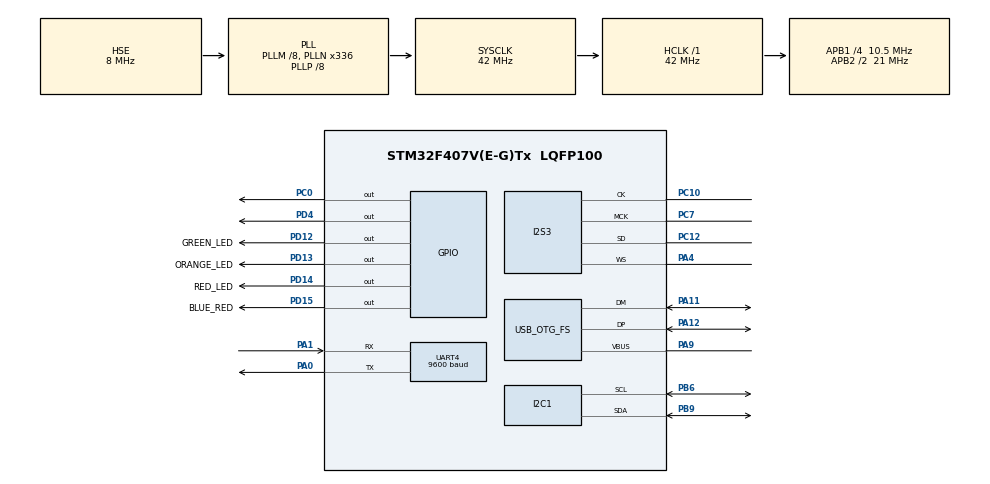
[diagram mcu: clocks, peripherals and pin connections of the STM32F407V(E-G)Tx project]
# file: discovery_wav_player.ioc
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Dma.Request0=SPI3_TX
Dma.Request1=UART4_RX
Dma.Request2=UART4_TX
Dma.SPI3_TX.0.Direction=DMA_MEMORY_TO_PERIPH
Dma.SPI3_TX.0.FIFOMode=DMA_FIFOMODE_ENABLE
Dma.SPI3_TX.0.FIFOThreshold=DMA_FIFO_THRESHOLD_FULL
Dma.SPI3_TX.0.Instance=DMA1_Stream5
Dma.SPI3_TX.0.MemBurst=DMA_MBURST_SINGLE
Dma.SPI3_TX.0.MemDataAlignment=DMA_MDATAALIGN_HALFWORD
Dma.SPI3_TX.0.MemInc=DMA_MINC_ENABLE
Dma.SPI3_TX.0.Mode=DMA_CIRCULAR
Dma.SPI3_TX.0.PeriphBurst=DMA_PBURST_SINGLE
Dma.SPI3_TX.0.PeriphDataAlignment=DMA_PDATAALIGN_HALFWORD
Dma.SPI3_TX.0.PeriphInc=DMA_PINC_DISABLE
Dma.SPI3_TX.0.Priority=DMA_PRIORITY_VERY_HIGH
Dma.UART4_RX.1.Direction=DMA_PERIPH_TO_MEMORY
Dma.UART4_RX.1.FIFOMode=DMA_FIFOMODE_ENABLE
Dma.UART4_RX.1.FIFOThreshold=DMA_FIFO_THRESHOLD_FULL
Dma.UART4_RX.1.Instance=DMA1_Stream2
Dma.UART4_RX.1.MemBurst=DMA_MBURST_SINGLE
Dma.UART4_RX.1.MemDataAlignment=DMA_MDATAALIGN_BYTE
Dma.UART4_RX.1.MemInc=DMA_MINC_ENABLE
Dma.UART4_RX.1.Mode=DMA_NORMAL
Dma.UART4_RX.1.PeriphBurst=DMA_PBURST_SINGLE
Dma.UART4_RX.1.PeriphDataAlignment=DMA_PDATAALIGN_BYTE
Dma.UART4_RX.1.PeriphInc=DMA_PINC_DISABLE
Dma.UART4_RX.1.Priority=DMA_PRIORITY_LOW
Dma.UART4_TX.2.Direction=DMA_MEMORY_TO_PERIPH
Dma.UART4_TX.2.FIFOMode=DMA_FIFOMODE_ENABLE
Dma.UART4_TX.2.FIFOThreshold=DMA_FIFO_THRESHOLD_FULL
Dma.UART4_TX.2.Instance=DMA1_Stream4
Dma.UART4_TX.2.MemBurst=DMA_MBURST_SINGLE
Dma.UART4_TX.2.MemDataAlignment=DMA_MDATAALIGN_BYTE
Dma.UART4_TX.2.MemInc=DMA_MINC_ENABLE
Dma.UART4_TX.2.Mode=DMA_NORMAL
Dma.UART4_TX.2.PeriphBurst=DMA_PBURST_SINGLE
Dma.UART4_TX.2.PeriphDataAlignment=DMA_PDATAALIGN_BYTE
Dma.UART4_TX.2.PeriphInc=DMA_PINC_DISABLE
Dma.UART4_TX.2.Priority=DMA_PRIORITY_LOW
FATFS._USE_FIND=1
I2S3.AudioFreq=I2S_AUDIOFREQ_44K
I2S3.ErrorAudioFreq=0.24 %
I2S3.FullDuplexMode=I2S_FULLDUPLEXMODE_DISABLE
I2S3.Instance=SPI$Index
I2S3.RealAudioFreq=44.108 KHz
I2S3.VirtualMode=I2S_MODE_MASTER
Mcu.Family=STM32F4
Mcu.Name=STM32F407V(E-G)Tx
Mcu.Package=LQFP100
NVIC.DMA1_Stream2_IRQn=true\:2\:0\:true\:false\:true\:false\:true
NVIC.DMA1_Stream4_IRQn=true\:2\:0\:true\:false\:true\:false\:true
NVIC.DMA1_Stream5_IRQn=true\:2\:0\:true\:false\:true\:false\:true
NVIC.OTG_FS_IRQn=true\:1\:0\:true\:false\:true\:false\:true
NVIC.PriorityGroup=NVIC_PRIORITYGROUP_2
NVIC.UART4_IRQn=true\:2\:0\:true\:false\:true\:true\:true
PA0-WKUP.Mode=Asynchronous
PA0-WKUP.Signal=UART4_TX
PA1.Mode=Asynchronous
PA1.Signal=UART4_RX
PA11.Mode=Host_Only
PA11.Signal=USB_OTG_FS_DM
PA12.Mode=Host_Only
PA12.Signal=USB_OTG_FS_DP
PA4.Mode=Half_Duplex_Master
PA4.Signal=I2S3_WS
PA9.Mode=Activate_VBUS
PA9.Signal=USB_OTG_FS_VBUS
PB6.Mode=I2C
PB6.Signal=I2C1_SCL
PB9.Mode=I2C
PB9.Signal=I2C1_SDA
PC0.Signal=GPIO_Output
PC10.Mode=Half_Duplex_Master
PC10.Signal=I2S3_CK
PC12.Mode=Half_Duplex_Master
PC12.Signal=I2S3_SD
PC7.Mode=Master_Clock_Activated
PC7.Signal=I2S3_MCK
PD12.GPIO_Label=GREEN_LED
PD12.Signal=GPIO_Output
PD13.GPIO_Label=ORANGE_LED
PD13.Signal=GPIO_Output
PD14.GPIO_Label=RED_LED
PD14.Signal=GPIO_Output
PD15.GPIO_Label=BLUE_RED
PD15.Signal=GPIO_Output
PD4.Signal=GPIO_Output
PH0-OSC_IN.Mode=HSE-External-Oscillator
PH0-OSC_IN.Signal=RCC_OSC_IN
PH1-OSC_OUT.Mode=HSE-External-Oscillator
PH1-OSC_OUT.Signal=RCC_OSC_OUT
ProjectManager.HeapSize=0x2000
ProjectManager.StackSize=0x2000
ProjectManager.TargetToolchain=STM32CubeIDE
RCC.48MHZClocksFreq_Value=48000000
RCC.AHBFreq_Value=42000000
RCC.APB1CLKDivider=RCC_HCLK_DIV4
RCC.APB1Freq_Value=10500000
RCC.APB1TimFreq_Value=21000000
RCC.APB2CLKDivider=RCC_HCLK_DIV2
RCC.APB2Freq_Value=21000000
RCC.APB2TimFreq_Value=42000000
RCC.CortexFreq_Value=42000000
RCC.HCLKFreq_Value=42000000
RCC.HSE_VALUE=8000000
RCC.HSI_VALUE=16000000
RCC.LSE_VALUE=32768
RCC.PLLI2SN=271
RCC.PLLI2SR=6
RCC.PLLM=8
RCC.PLLN=336
RCC.PLLP=RCC_PLLP_DIV8
RCC.PLLQ=7
RCC.SYSCLKFreq_VALUE=42000000
RCC.SYSCLKSource=RCC_SYSCLKSOURCE_PLLCLK
RCC.VCOOutputFreq_Value=336000000
UART4.BaudRate=9600
UART4.VirtualMode=Asynchronous
USB_HOST.USBH_HandleTypeDef-MSC_FS=hUsbHostFS
USB_HOST.VirtualModeFS=Msc
USB_OTG_FS.VirtualMode=Host_Only
USB_OTG_FS.phy_itface=HCD_PHY_EMBEDDED
VP_FATFS_VS_USB.Mode=USB
VP_USB_HOST_VS_USB_HOST_MSC_FS.Mode=MSC_FS
board=STM32F407G-DISC1

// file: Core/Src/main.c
/* USER CODE BEGIN Header */
/**
  ******************************************************************************
  * @file           : main.c
  * @brief          : Main program body
  ******************************************************************************
  * @attention
  *
  * <h2><center>&copy; Copyright (c) 2020 STMicroelectronics.
  * All rights reserved.</center></h2>
  *
  * This software component is licensed by ST under Ultimate Liberty license
  * SLA0044, the "License"; You may not use this file except in compliance with
  * the License. You may obtain a copy of the License at:
  *                             www.st.com/SLA0044
  *
  ******************************************************************************
  */
/* USER CODE END Header */
#include "main.h"
#include "fatfs.h"
#include "usb_host.h"

/* USER CODE BEGIN Includes */
#include "../../Modules/CS43L22/CS43L22.h"
#include "../../Modules/hc-05/hc-05.h"
#include "../../Modules/I2s/I2s.h"
#include "../../App/wav_player.h"
/* USER CODE END Includes */

I2C_HandleTypeDef hi2c1;

I2S_HandleTypeDef hi2s3;
DMA_HandleTypeDef hdma_spi3_tx;

UART_HandleTypeDef huart4;
DMA_HandleTypeDef hdma_uart4_rx;
DMA_HandleTypeDef hdma_uart4_tx;

void SystemClock_Config(void);
static void MX_GPIO_Init(void);
static void MX_DMA_Init(void);
static void MX_I2C1_Init(void);
static void MX_I2S3_Init(void);
static void MX_UART4_Init(void);
void MX_USB_HOST_Process(void);

int main(void)
{

  /* MCU Configuration--------------------------------------------------------*/

  /* Reset of all peripherals, Initializes the Flash interface and the Systick. */
  HAL_Init();

  /* Configure the system clock */
  SystemClock_Config();

  /* Initialize all configured peripherals */
  MX_GPIO_Init();
  MX_DMA_Init();
  MX_I2C1_Init();
  MX_I2S3_Init();
  MX_FATFS_Init();
  MX_USB_HOST_Init();
  MX_UART4_Init();

  /* Infinite loop */
  while (1)
  {
    MX_USB_HOST_Process();

  }
}

void SystemClock_Config(void)
{
  RCC_OscInitTypeDef RCC_OscInitStruct = {0};
  RCC_ClkInitTypeDef RCC_ClkInitStruct = {0};

  /** Configure the main internal regulator output voltage
  */
  __HAL_RCC_PWR_CLK_ENABLE();
  __HAL_PWR_VOLTAGESCALING_CONFIG(PWR_REGULATOR_VOLTAGE_SCALE1);
  /** Initializes the RCC Oscillators according to the specified parameters
  * in the RCC_OscInitTypeDef structure.
  */
  RCC_OscInitStruct.OscillatorType = RCC_OSCILLATORTYPE_HSE;
  RCC_OscInitStruct.HSEState = RCC_HSE_ON;
  RCC_OscInitStruct.PLL.PLLState = RCC_PLL_ON;
  RCC_OscInitStruct.PLL.PLLSource = RCC_PLLSOURCE_HSE;
  RCC_OscInitStruct.PLL.PLLM = 8;
  RCC_OscInitStruct.PLL.PLLN = 336;
  RCC_OscInitStruct.PLL.PLLP = RCC_PLLP_DIV8;
  RCC_OscInitStruct.PLL.PLLQ = 7;
  if (HAL_RCC_OscConfig(&RCC_OscInitStruct) != HAL_OK)
  {
    Error_Handler();
  }
  /** Initializes the CPU, AHB and APB buses clocks
  */
  RCC_ClkInitStruct.ClockType = RCC_CLOCKTYPE_HCLK|RCC_CLOCKTYPE_SYSCLK
                              |RCC_CLOCKTYPE_PCLK1|RCC_CLOCKTYPE_PCLK2;
  RCC_ClkInitStruct.SYSCLKSource = RCC_SYSCLKSOURCE_PLLCLK;
  RCC_ClkInitStruct.AHBCLKDivider = RCC_SYSCLK_DIV1;
  RCC_ClkInitStruct.APB1CLKDivider = RCC_HCLK_DIV4;
  RCC_ClkInitStruct.APB2CLKDivider = RCC_HCLK_DIV2;

  if (HAL_RCC_ClockConfig(&RCC_ClkInitStruct, FLASH_LATENCY_1) != HAL_OK)
  {
    Error_Handler();
  }
}

static void MX_I2C1_Init(void)
{

  hi2c1.Instance = I2C1;
  hi2c1.Init.ClockSpeed = 100000;
  hi2c1.Init.DutyCycle = I2C_DUTYCYCLE_2;
  hi2c1.Init.OwnAddress1 = 0;
  hi2c1.Init.AddressingMode = I2C_ADDRESSINGMODE_7BIT;
  hi2c1.Init.DualAddressMode = I2C_DUALADDRESS_DISABLE;
  hi2c1.Init.OwnAddress2 = 0;
  hi2c1.Init.GeneralCallMode = I2C_GENERALCALL_DISABLE;
  hi2c1.Init.NoStretchMode = I2C_NOSTRETCH_DISABLE;
  if (HAL_I2C_Init(&hi2c1) != HAL_OK)
  {
    Error_Handler();
  }

}

static void MX_I2S3_Init(void)
{

  /* USER CODE BEGIN I2S3_Init 0 */
  __HAL_I2S_ENABLE(&hi2s3);
  /* USER CODE END I2S3_Init 0 */

  hi2s3.Instance = SPI3;
  hi2s3.Init.Mode = I2S_MODE_MASTER_TX;
  hi2s3.Init.Standard = I2S_STANDARD_PHILIPS;
  hi2s3.Init.DataFormat = I2S_DATAFORMAT_16B;
  hi2s3.Init.MCLKOutput = I2S_MCLKOUTPUT_ENABLE;
  hi2s3.Init.AudioFreq = I2S_AUDIOFREQ_44K;
  hi2s3.Init.CPOL = I2S_CPOL_LOW;
  hi2s3.Init.ClockSource = I2S_CLOCK_PLL;
  hi2s3.Init.FullDuplexMode = I2S_FULLDUPLEXMODE_DISABLE;
  if (HAL_I2S_Init(&hi2s3) != HAL_OK)
  {
    Error_Handler();
  }

}

static void MX_UART4_Init(void)
{

  huart4.Instance = UART4;
  huart4.Init.BaudRate = 9600;
  huart4.Init.WordLength = UART_WORDLENGTH_8B;
  huart4.Init.StopBits = UART_STOPBITS_1;
  huart4.Init.Parity = UART_PARITY_NONE;
  huart4.Init.Mode = UART_MODE_TX_RX;
  huart4.Init.HwFlowCtl = UART_HWCONTROL_NONE;
  huart4.Init.OverSampling = UART_OVERSAMPLING_16;
  if (HAL_UART_Init(&huart4) != HAL_OK)
  {
    Error_Handler();
  }
  /* USER CODE BEGIN UART4_Init 2 */
  //enable idle line interrupt
  __HAL_UART_ENABLE_IT(&huart4, UART_IT_IDLE);
  /* USER CODE END UART4_Init 2 */

}

static void MX_DMA_Init(void)
{

  /* DMA controller clock enable */
  __HAL_RCC_DMA1_CLK_ENABLE();

  /* DMA interrupt init */
  /* DMA1_Stream2_IRQn interrupt configuration */
  HAL_NVIC_SetPriority(DMA1_Stream2_IRQn, 2, 0);
  HAL_NVIC_EnableIRQ(DMA1_Stream2_IRQn);
  /* DMA1_Stream4_IRQn interrupt configuration */
  HAL_NVIC_SetPriority(DMA1_Stream4_IRQn, 2, 0);
  HAL_NVIC_EnableIRQ(DMA1_Stream4_IRQn);
  /* DMA1_Stream5_IRQn interrupt configuration */
  HAL_NVIC_SetPriority(DMA1_Stream5_IRQn, 2, 0);
  HAL_NVIC_EnableIRQ(DMA1_Stream5_IRQn);

}

static void MX_GPIO_Init(void)
{
  GPIO_InitTypeDef GPIO_InitStruct = {0};

  /* GPIO Ports Clock Enable */
  __HAL_RCC_GPIOH_CLK_ENABLE();
  __HAL_RCC_GPIOC_CLK_ENABLE();
  __HAL_RCC_GPIOA_CLK_ENABLE();
  __HAL_RCC_GPIOD_CLK_ENABLE();
  __HAL_RCC_GPIOB_CLK_ENABLE();

  /*Configure GPIO pin Output Level */
  HAL_GPIO_WritePin(GPIOC, GPIO_PIN_0, GPIO_PIN_RESET);

  /*Configure GPIO pin Output Level */
  HAL_GPIO_WritePin(GPIOD, GREEN_LED_Pin|ORANGE_LED_Pin|RED_LED_Pin|BLUE_RED_Pin
                          |GPIO_PIN_4, GPIO_PIN_RESET);

  /*Configure GPIO pin : PC0 */
  GPIO_InitStruct.Pin = GPIO_PIN_0;
  GPIO_InitStruct.Mode = GPIO_MODE_OUTPUT_PP;
  GPIO_InitStruct.Pull = GPIO_NOPULL;
  GPIO_InitStruct.Speed = GPIO_SPEED_FREQ_LOW;
  HAL_GPIO_Init(GPIOC, &GPIO_InitStruct);

  /*Configure GPIO pins : GREEN_LED_Pin ORANGE_LED_Pin RED_LED_Pin BLUE_RED_Pin
                           PD4 */
  GPIO_InitStruct.Pin = GREEN_LED_Pin|ORANGE_LED_Pin|RED_LED_Pin|BLUE_RED_Pin
                          |GPIO_PIN_4;
  GPIO_InitStruct.Mode = GPIO_MODE_OUTPUT_PP;
  GPIO_InitStruct.Pull = GPIO_NOPULL;
  GPIO_InitStruct.Speed = GPIO_SPEED_FREQ_LOW;
  HAL_GPIO_Init(GPIOD, &GPIO_InitStruct);

}

/* USER CODE BEGIN 4 */
void
App_Init(void)
{
  static uint8_t isInitialized = 0;
  if(isInitialized == 0)
    {
      WavPlayerConfig_t Config = {0};
      Config.Muted = false;
      Config.Vol = 180;
      Config.i2ch = hi2c1;
      WavPlayer_Init(&Config);

      I2s_SetHandle(&hi2s3);

      HC05_Init(&huart4);

      WavPlayer_ChooseTheFirstAudioFile();

      isInitialized = 1;
    }
}

/* USER CODE END 4 */

void Error_Handler(void)
{
}

/************************ (C) COPYRIGHT STMicroelectronics *****END OF FILE****/
